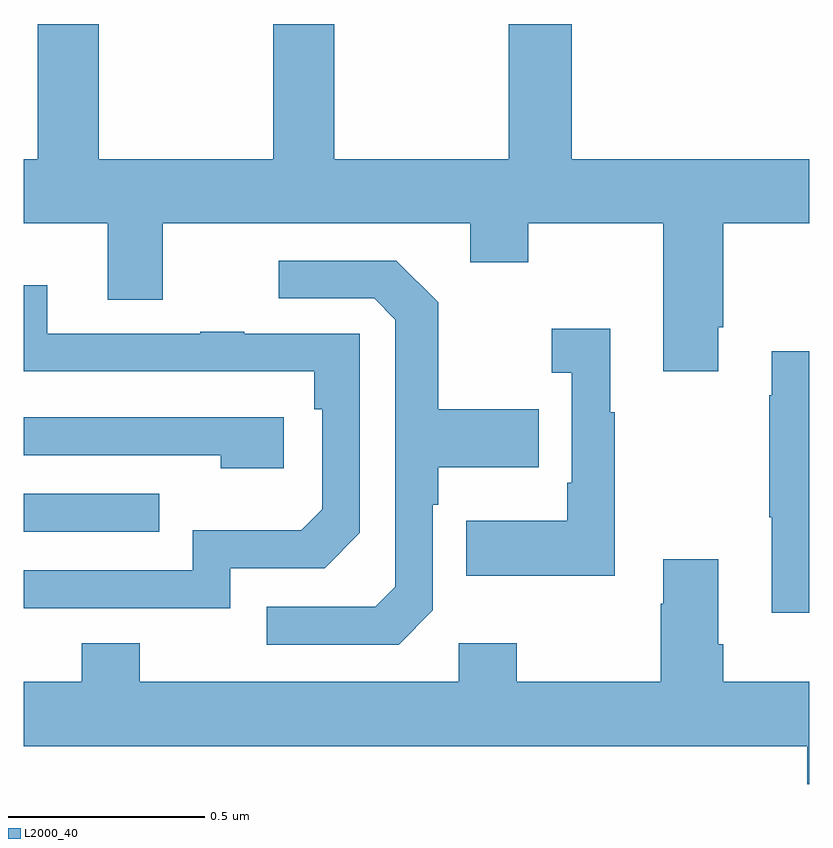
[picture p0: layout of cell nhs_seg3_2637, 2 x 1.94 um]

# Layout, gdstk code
import gdstk
lib = gdstk.Library(unit=1e-6, precision=1e-09)
def R(c, l, rs):  # rectangles x0, y0, x1, y1
    for r in rs: c.add(gdstk.rectangle(r[:2], r[2:], *l))
def P(c, l, *ps):  # polygons
    for p in ps: c.add(gdstk.Polygon(p, *l))
L2000_40 = (2000, 40)

nhs_seg3_2637 = lib.new_cell('nhs_seg3_2637')
R(nhs_seg3_2637, L2000_40, [(143,724.107,143.345,724.203)])
P(nhs_seg3_2637, L2000_40, [(144.769,724.627),(144.782,724.627),(144.782,724.892),(145,724.892),(145,725.056),(144.395,725.056),(144.395,725.4),(144.235,725.4),(144.235,725.056),(143.79,725.056),(143.79,725.4),(143.635,725.4),(143.635,725.056),(143.19,725.056),(143.19,725.4),(143.035,725.4),(143.035,725.056),(143,725.056),(143,724.892),(143.213,724.892),(143.213,724.698),(143.353,724.698),(143.353,724.892),(144.137,724.892),(144.137,724.793),(144.285,724.793),(144.285,724.892),(144.629,724.892),(144.629,724.515),(144.769,724.515)],
  [(144.042,723.906),(144.042,724.175),(144.055,724.175),(144.055,724.271),(144.311,724.271),(144.311,724.419),(144.055,724.419),(144.055,724.691),(143.949,724.797),(143.649,724.797),(143.649,724.701),(143.892,724.701),(143.946,724.647),(143.946,723.966),(143.895,723.915),(143.619,723.915),(143.619,723.819),(143.955,723.819)],
  [(143.526,724.014),(143.766,724.014),(143.856,724.104),(143.856,724.611),(143.561,724.611),(143.561,724.616),(143.449,724.616),(143.449,724.611),(143.059,724.611),(143.059,724.735),(143,724.735),(143,724.516),(143.065,724.516),(143.065,724.515),(143.74,724.515),(143.74,724.418),(143.76,724.418),(143.76,724.164),(143.707,724.111),(143.43,724.111),(143.43,724.008),(143,724.008),(143,723.912),(143.526,723.912)],
  [(144.505,724.411),(144.493,724.411),(144.493,724.624),(144.345,724.624),(144.345,724.511),(144.396,724.511),(144.396,724.231),(144.384,724.231),(144.384,724.135),(144.127,724.135),(144.127,723.995),(144.505,723.995)],
  [(145,724.567),(144.905,724.567),(144.905,724.454),(144.898,724.454),(144.898,724.143),(144.905,724.143),(144.905,723.9),(145,723.9)],
  [(143.662,724.398),(143,724.398),(143,724.302),(143.501,724.302),(143.501,724.268),(143.662,724.268)],
  [(145,723.724),(144.782,723.724),(144.782,723.82),(144.769,723.82),(144.769,724.036),(144.629,724.036),(144.629,723.923),(144.622,723.923),(144.622,723.724),(144.255,723.724),(144.255,723.823),(144.108,723.823),(144.108,723.724),(143.295,723.724),(143.295,723.823),(143.147,723.823),(143.147,723.724),(143,723.724),(143,723.56),(144.995,723.56),(144.995,723.464),(145,723.464)])

lib.write_gds('nhs_seg3_2637.gds')
